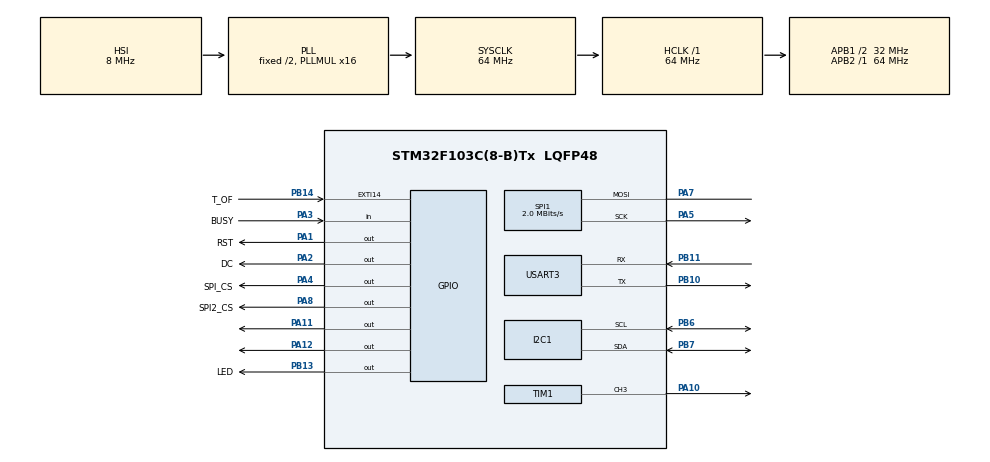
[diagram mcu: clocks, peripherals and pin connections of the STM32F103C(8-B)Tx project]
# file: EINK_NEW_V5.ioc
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Dma.Request0=SPI1_TX
Dma.SPI1_TX.0.Direction=DMA_MEMORY_TO_PERIPH
Dma.SPI1_TX.0.Instance=DMA1_Channel3
Dma.SPI1_TX.0.MemDataAlignment=DMA_MDATAALIGN_BYTE
Dma.SPI1_TX.0.MemInc=DMA_MINC_ENABLE
Dma.SPI1_TX.0.Mode=DMA_NORMAL
Dma.SPI1_TX.0.PeriphDataAlignment=DMA_PDATAALIGN_BYTE
Dma.SPI1_TX.0.PeriphInc=DMA_PINC_DISABLE
Dma.SPI1_TX.0.Priority=DMA_PRIORITY_LOW
Mcu.Family=STM32F1
Mcu.Name=STM32F103C(8-B)Tx
Mcu.Package=LQFP48
NVIC.DMA1_Channel3_IRQn=true\:0\:0\:false\:false\:true\:false\:true\:true
NVIC.EXTI15_10_IRQn=true\:0\:0\:false\:false\:true\:true\:true\:true
NVIC.PriorityGroup=NVIC_PRIORITYGROUP_4
PA1.GPIO_Label=RST
PA1.Signal=GPIO_Output
PA10.Signal=S_TIM1_CH3
PA11.Signal=GPIO_Output
PA12.Signal=GPIO_Output
PA13.Mode=Serial_Wire
PA13.Signal=SYS_JTMS-SWDIO
PA14.Mode=Serial_Wire
PA14.Signal=SYS_JTCK-SWCLK
PA2.GPIO_Label=DC
PA2.Signal=GPIO_Output
PA3.GPIO_Label=BUSY
PA3.Signal=GPIO_Input
PA4.GPIO_Label=SPI_CS
PA4.Signal=GPIO_Output
PA5.Mode=Simplex_Bidirectional_Master
PA5.Signal=SPI1_SCK
PA7.Mode=Simplex_Bidirectional_Master
PA7.Signal=SPI1_MOSI
PA8.GPIO_Label=SPI2_CS
PA8.Signal=GPIO_Output
PB10.Mode=Asynchronous
PB10.Signal=USART3_TX
PB11.Mode=Asynchronous
PB11.Signal=USART3_RX
PB13.GPIO_Label=LED
PB13.Signal=GPIO_Output
PB14.GPIO_Label=T_OF
PB14.GPIO_PuPd=GPIO_PULLDOWN
PB14.Signal=GPXTI14
PB6.Mode=I2C
PB6.Signal=I2C1_SCL
PB7.Mode=I2C
PB7.Signal=I2C1_SDA
ProjectManager.HeapSize=0x200
ProjectManager.StackSize=0x400
ProjectManager.TargetToolchain=STM32CubeIDE
RCC.AHBFreq_Value=64000000
RCC.APB1CLKDivider=RCC_HCLK_DIV2
RCC.APB1Freq_Value=32000000
RCC.APB1TimFreq_Value=64000000
RCC.APB2Freq_Value=64000000
RCC.APB2TimFreq_Value=64000000
RCC.HCLKFreq_Value=64000000
RCC.PLLMUL=RCC_PLL_MUL16
RCC.SYSCLKFreq_VALUE=64000000
RCC.SYSCLKSource=RCC_SYSCLKSOURCE_PLLCLK
RCC.USBFreq_Value=64000000
SH.S_TIM1_CH3.0=TIM1_CH3,PWM Generation3 CH3
SPI1.BaudRatePrescaler=SPI_BAUDRATEPRESCALER_32
SPI1.CalculateBaudRate=2.0 MBits/s
SPI1.Direction=SPI_DIRECTION_1LINE
SPI1.Mode=SPI_MODE_MASTER
SPI1.VirtualType=VM_MASTER
TIM1.Channel-PWM\ Generation3\ CH3=TIM_CHANNEL_3
TIM1.Period=1000
USART3.VirtualMode=VM_ASYNC
VP_TIM1_VS_ClockSourceINT.Mode=Internal
board=custom

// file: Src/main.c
/* USER CODE BEGIN Header */
/**
  ******************************************************************************
  * @file           : main.c
  * @brief          : Main program body
  ******************************************************************************
  * @attention
  *
  * Copyright (c) 2025 STMicroelectronics.
  * All rights reserved.
  *
  * This software is licensed under terms that can be found in the LICENSE file
  * in the root directory of this software component.
  * If no LICENSE file comes with this software, it is provided AS-IS.
  *
  ******************************************************************************
  */
/* USER CODE END Header */
#include "main.h"

I2C_HandleTypeDef hi2c1;

SPI_HandleTypeDef hspi1;
DMA_HandleTypeDef hdma_spi1_tx;

extern TIM_HandleTypeDef htim1;

UART_HandleTypeDef huart3;

/* USER CODE BEGIN PV */
float pres;
uint8_t turn_of_flag = 0;
/* USER CODE END PV */

void SystemClock_Config(void);
static void MX_GPIO_Init(void);
static void MX_DMA_Init(void);
static void MX_I2C1_Init(void);
static void MX_SPI1_Init(void);
static void MX_TIM1_Init(void);
static void MX_USART3_UART_Init(void);

/* USER CODE BEGIN 0 */
int _write(int file, char *ptr, int len) {
	(void) file;
	int DataIdx;

	for (DataIdx = 0; DataIdx < len; DataIdx++) {
		ITM_SendChar(*ptr++);
	}
	return len;
}

uint8_t image_bw[EPD_W_BUFF_SIZE * EPD_H];
uint8_t text[25];
/* USER CODE END 0 */
uint32_t altitude;
float altitude_test;
int16_t climb;
//uint16_t cntr;
uint32_t cycle_time;
uint32_t time_old;
uint8_t q_count;
uint32_t cb_cnt = 0;
volatile uint32_t systick_counter;

void (*callback_30ms)(void) = NULL;  // Указатель на вашу функцию

void init_30ms_callback(void (*func)(void)) {
    callback_30ms = func;
}

void my_30ms_function(void) {
    // Ваш код здесь
	climb_calc(&altitude, &climb);
	pres = pascalToCentimeter(spl06_ReadPressure());
	cb_cnt++;
}

int main(void)
{

  /* MCU Configuration--------------------------------------------------------*/

  /* Reset of all peripherals, Initializes the Flash interface and the Systick. */
  HAL_Init();

  /* Configure the system clock */
  SystemClock_Config();

  /* Initialize all configured peripherals */
  MX_GPIO_Init();
  MX_DMA_Init();
  MX_I2C1_Init();
  MX_SPI1_Init();
  MX_TIM1_Init();
  MX_USART3_UART_Init();
  /* USER CODE BEGIN 2 */
  spl06_Init();
  	spl06_Init();
  	spl06_SetOSR(RATE_X8, RATE_X8);
  	spl06_SetMode(MODE_BACKGND_BOTH);

  	epd_init();
  	epd_paint_newimage(image_bw, EPD_W, EPD_H, EPD_ROTATE_180, EPD_COLOR_WHITE);
  	epd_paint_clear(EPD_COLOR_WHITE);
  	epd_update();
  	spl06_ID_read();
  	HAL_GPIO_WritePin(GPIOB, GPIO_PIN_13, 1);

  	init_30ms_callback(my_30ms_function);

	/*while(HAL_GetTick()<5000){// долгая циклическая отчитка дисплея на протяжении 15 секунд
		epd_paint_clear(EPD_COLOR_WHITE);
		epd_update();
	}*/

	epd_init_partial();
	display_fields(image_bw);
	//HAL_GPIO_WritePin(GPIOA, GPIO_PIN_11, SET);

	//epd_paint_selectimage(image_bw);
	HAL_GPIO_WritePin(GPIOA, GPIO_PIN_11, 1);
	HAL_GPIO_WritePin(GPIOA, GPIO_PIN_12, 1);

	//static uint32_t altitude;
	//static float altitude_test;
	//static int16_t climb;
	filter_init();
	HAL_Delay(500);
  /* USER CODE END 2 */

  /* Infinite loop */
  /* USER CODE BEGIN WHILE */
	  while (1)
	  {

		  cycle_time = HAL_GetTick()-time_old;
		  display_inform(altitude/100, climb/10, text, image_bw);
		  Buzzer_inform(climb/10);
		  time_old = HAL_GetTick();
	  }
	  /* USER CODE END 3 */
	}
void SystemClock_Config(void)
{
  RCC_OscInitTypeDef RCC_OscInitStruct = {0};
  RCC_ClkInitTypeDef RCC_ClkInitStruct = {0};

  /** Initializes the RCC Oscillators according to the specified parameters
  * in the RCC_OscInitTypeDef structure.
  */
  RCC_OscInitStruct.OscillatorType = RCC_OSCILLATORTYPE_HSI;
  RCC_OscInitStruct.HSIState = RCC_HSI_ON;
  RCC_OscInitStruct.HSICalibrationValue = RCC_HSICALIBRATION_DEFAULT;
  RCC_OscInitStruct.PLL.PLLState = RCC_PLL_ON;
  RCC_OscInitStruct.PLL.PLLSource = RCC_PLLSOURCE_HSI_DIV2;
  RCC_OscInitStruct.PLL.PLLMUL = RCC_PLL_MUL16;
  if (HAL_RCC_OscConfig(&RCC_OscInitStruct) != HAL_OK)
  {
    Error_Handler();
  }

  /** Initializes the CPU, AHB and APB buses clocks
  */
  RCC_ClkInitStruct.ClockType = RCC_CLOCKTYPE_HCLK|RCC_CLOCKTYPE_SYSCLK
                              |RCC_CLOCKTYPE_PCLK1|RCC_CLOCKTYPE_PCLK2;
  RCC_ClkInitStruct.SYSCLKSource = RCC_SYSCLKSOURCE_PLLCLK;
  RCC_ClkInitStruct.AHBCLKDivider = RCC_SYSCLK_DIV1;
  RCC_ClkInitStruct.APB1CLKDivider = RCC_HCLK_DIV2;
  RCC_ClkInitStruct.APB2CLKDivider = RCC_HCLK_DIV1;

  if (HAL_RCC_ClockConfig(&RCC_ClkInitStruct, FLASH_LATENCY_2) != HAL_OK)
  {
    Error_Handler();
  }
}

static void MX_I2C1_Init(void)
{

  hi2c1.Instance = I2C1;
  hi2c1.Init.ClockSpeed = 100000;
  hi2c1.Init.DutyCycle = I2C_DUTYCYCLE_2;
  hi2c1.Init.OwnAddress1 = 0;
  hi2c1.Init.AddressingMode = I2C_ADDRESSINGMODE_7BIT;
  hi2c1.Init.DualAddressMode = I2C_DUALADDRESS_DISABLE;
  hi2c1.Init.OwnAddress2 = 0;
  hi2c1.Init.GeneralCallMode = I2C_GENERALCALL_DISABLE;
  hi2c1.Init.NoStretchMode = I2C_NOSTRETCH_DISABLE;
  if (HAL_I2C_Init(&hi2c1) != HAL_OK)
  {
    Error_Handler();
  }

}

static void MX_SPI1_Init(void)
{

  /* SPI1 parameter configuration*/
  hspi1.Instance = SPI1;
  hspi1.Init.Mode = SPI_MODE_MASTER;
  hspi1.Init.Direction = SPI_DIRECTION_1LINE;
  hspi1.Init.DataSize = SPI_DATASIZE_8BIT;
  hspi1.Init.CLKPolarity = SPI_POLARITY_LOW;
  hspi1.Init.CLKPhase = SPI_PHASE_1EDGE;
  hspi1.Init.NSS = SPI_NSS_SOFT;
  hspi1.Init.BaudRatePrescaler = SPI_BAUDRATEPRESCALER_32;
  hspi1.Init.FirstBit = SPI_FIRSTBIT_MSB;
  hspi1.Init.TIMode = SPI_TIMODE_DISABLE;
  hspi1.Init.CRCCalculation = SPI_CRCCALCULATION_DISABLE;
  hspi1.Init.CRCPolynomial = 10;
  if (HAL_SPI_Init(&hspi1) != HAL_OK)
  {
    Error_Handler();
  }

}

static void MX_TIM1_Init(void)
{

  TIM_ClockConfigTypeDef sClockSourceConfig = {0};
  TIM_MasterConfigTypeDef sMasterConfig = {0};
  TIM_OC_InitTypeDef sConfigOC = {0};
  TIM_BreakDeadTimeConfigTypeDef sBreakDeadTimeConfig = {0};

  htim1.Instance = TIM1;
  htim1.Init.Prescaler = 0;
  htim1.Init.CounterMode = TIM_COUNTERMODE_UP;
  htim1.Init.Period = 1000;
  htim1.Init.ClockDivision = TIM_CLOCKDIVISION_DIV1;
  htim1.Init.RepetitionCounter = 0;
  htim1.Init.AutoReloadPreload = TIM_AUTORELOAD_PRELOAD_DISABLE;
  if (HAL_TIM_Base_Init(&htim1) != HAL_OK)
  {
    Error_Handler();
  }
  sClockSourceConfig.ClockSource = TIM_CLOCKSOURCE_INTERNAL;
  if (HAL_TIM_ConfigClockSource(&htim1, &sClockSourceConfig) != HAL_OK)
  {
    Error_Handler();
  }
  if (HAL_TIM_PWM_Init(&htim1) != HAL_OK)
  {
    Error_Handler();
  }
  sMasterConfig.MasterOutputTrigger = TIM_TRGO_RESET;
  sMasterConfig.MasterSlaveMode = TIM_MASTERSLAVEMODE_DISABLE;
  if (HAL_TIMEx_MasterConfigSynchronization(&htim1, &sMasterConfig) != HAL_OK)
  {
    Error_Handler();
  }
  sConfigOC.OCMode = TIM_OCMODE_PWM1;
  sConfigOC.Pulse = 0;
  sConfigOC.OCPolarity = TIM_OCPOLARITY_HIGH;
  sConfigOC.OCNPolarity = TIM_OCNPOLARITY_HIGH;
  sConfigOC.OCFastMode = TIM_OCFAST_DISABLE;
  sConfigOC.OCIdleState = TIM_OCIDLESTATE_RESET;
  sConfigOC.OCNIdleState = TIM_OCNIDLESTATE_RESET;
  if (HAL_TIM_PWM_ConfigChannel(&htim1, &sConfigOC, TIM_CHANNEL_3) != HAL_OK)
  {
    Error_Handler();
  }
  sBreakDeadTimeConfig.OffStateRunMode = TIM_OSSR_DISABLE;
  sBreakDeadTimeConfig.OffStateIDLEMode = TIM_OSSI_DISABLE;
  sBreakDeadTimeConfig.LockLevel = TIM_LOCKLEVEL_OFF;
  sBreakDeadTimeConfig.DeadTime = 0;
  sBreakDeadTimeConfig.BreakState = TIM_BREAK_DISABLE;
  sBreakDeadTimeConfig.BreakPolarity = TIM_BREAKPOLARITY_HIGH;
  sBreakDeadTimeConfig.AutomaticOutput = TIM_AUTOMATICOUTPUT_DISABLE;
  if (HAL_TIMEx_ConfigBreakDeadTime(&htim1, &sBreakDeadTimeConfig) != HAL_OK)
  {
    Error_Handler();
  }
  HAL_TIM_MspPostInit(&htim1);

}

static void MX_USART3_UART_Init(void)
{

  huart3.Instance = USART3;
  huart3.Init.BaudRate = 115200;
  huart3.Init.WordLength = UART_WORDLENGTH_8B;
  huart3.Init.StopBits = UART_STOPBITS_1;
  huart3.Init.Parity = UART_PARITY_NONE;
  huart3.Init.Mode = UART_MODE_TX_RX;
  huart3.Init.HwFlowCtl = UART_HWCONTROL_NONE;
  huart3.Init.OverSampling = UART_OVERSAMPLING_16;
  if (HAL_UART_Init(&huart3) != HAL_OK)
  {
    Error_Handler();
  }

}

static void MX_DMA_Init(void)
{

  /* DMA controller clock enable */
  __HAL_RCC_DMA1_CLK_ENABLE();

  /* DMA interrupt init */
  /* DMA1_Channel3_IRQn interrupt configuration */
  HAL_NVIC_SetPriority(DMA1_Channel3_IRQn, 0, 0);
  HAL_NVIC_EnableIRQ(DMA1_Channel3_IRQn);

}

static void MX_GPIO_Init(void)
{
  GPIO_InitTypeDef GPIO_InitStruct = {0};

  /* GPIO Ports Clock Enable */
  __HAL_RCC_GPIOA_CLK_ENABLE();
  __HAL_RCC_GPIOB_CLK_ENABLE();

  /*Configure GPIO pin Output Level */
  HAL_GPIO_WritePin(GPIOA, RST_Pin|DC_Pin|SPI_CS_Pin|SPI2_CS_Pin
                          |GPIO_PIN_11|GPIO_PIN_12, GPIO_PIN_RESET);

  /*Configure GPIO pin Output Level */
  HAL_GPIO_WritePin(LED_GPIO_Port, LED_Pin, GPIO_PIN_RESET);

  /*Configure GPIO pins : RST_Pin DC_Pin SPI_CS_Pin SPI2_CS_Pin
                           PA11 PA12 */
  GPIO_InitStruct.Pin = RST_Pin|DC_Pin|SPI_CS_Pin|SPI2_CS_Pin
                          |GPIO_PIN_11|GPIO_PIN_12;
  GPIO_InitStruct.Mode = GPIO_MODE_OUTPUT_PP;
  GPIO_InitStruct.Pull = GPIO_NOPULL;
  GPIO_InitStruct.Speed = GPIO_SPEED_FREQ_LOW;
  HAL_GPIO_Init(GPIOA, &GPIO_InitStruct);

  /*Configure GPIO pin : BUSY_Pin */
  GPIO_InitStruct.Pin = BUSY_Pin;
  GPIO_InitStruct.Mode = GPIO_MODE_INPUT;
  GPIO_InitStruct.Pull = GPIO_NOPULL;
  HAL_GPIO_Init(BUSY_GPIO_Port, &GPIO_InitStruct);

  /*Configure GPIO pin : LED_Pin */
  GPIO_InitStruct.Pin = LED_Pin;
  GPIO_InitStruct.Mode = GPIO_MODE_OUTPUT_PP;
  GPIO_InitStruct.Pull = GPIO_NOPULL;
  GPIO_InitStruct.Speed = GPIO_SPEED_FREQ_LOW;
  HAL_GPIO_Init(LED_GPIO_Port, &GPIO_InitStruct);

  /*Configure GPIO pin : T_OF_Pin */
  GPIO_InitStruct.Pin = T_OF_Pin;
  GPIO_InitStruct.Mode = GPIO_MODE_IT_RISING;
  GPIO_InitStruct.Pull = GPIO_PULLDOWN;
  HAL_GPIO_Init(T_OF_GPIO_Port, &GPIO_InitStruct);

  /* EXTI interrupt init*/
  HAL_NVIC_SetPriority(EXTI15_10_IRQn, 0, 0);
  HAL_NVIC_EnableIRQ(EXTI15_10_IRQn);

}

/* USER CODE BEGIN 4 */
void HAL_GPIO_EXTI_Callback (uint16_t GPIO_Pin){
	if (turn_of_flag == 0){

		HAL_GPIO_WritePin(GPIOB, GPIO_PIN_13, 1);
		turn_of_flag = 1;

	}
}
/* USER CODE END 4 */

void Error_Handler(void)
{
  __disable_irq();
  while (1)
  {
  }
}
